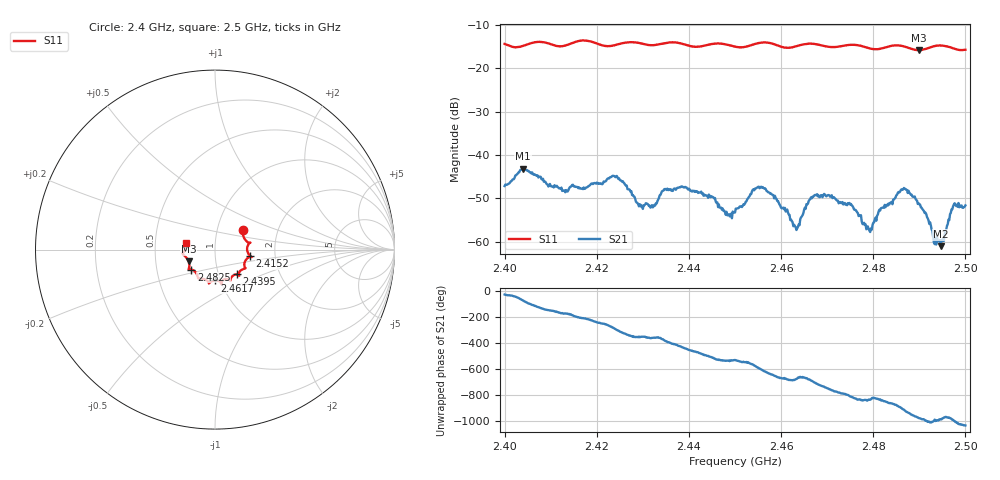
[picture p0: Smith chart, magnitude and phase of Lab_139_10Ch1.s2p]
# Hz S RI R 50
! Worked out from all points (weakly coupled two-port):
!   601 points, 2.4 GHz to 2.5 GHz, reference 50 ohm
!   highest |S21| = -43.21 dB at 2.404 GHz (marker M1); lowest = -61.1 dB at 2.4947 GHz (marker M2)
!   lowest |S11| = -15.9 dB at 2.4898 GHz (marker M3), VSWR 1.38, Z = 36.9 - j4.91 ohm
!   |S11| at or under -10 dB: start of sweep to end of sweep
!   S12 and S22 are empty: the file has one direction only
!   S11 on the Smith chart (normalised r, x): 2.4 GHz: 1.33, +0.30; 2.4152 GHz: 1.48, -0.11; 2.4395 GHz: 1.22, -0.35; 2.4617 GHz: 0.94, -0.33; 2.4825 GHz: 0.75, -0.17; 2.5 GHz: 0.72, +0.05
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2.4e9  0.1557 0.1097  0.00385 -0.00207  0 0  0 0
2.404e9  0.1739 0.0484  0.00185 -0.00665  0 0  0 0
2.415167e9  0.1958 -0.0363  -0.00421 0.00112  0 0  0 0
2.416667e9  0.204 -0.0418  -0.00354 0.00201  0 0  0 0
2.423833e9  0.1631 -0.0845  0.00202 0.00532  0 0  0 0
2.4295e9  0.1616 -0.1071  0.00264 0.00028  0 0  0 0
2.433333e9  0.1329 -0.1328  0.00305 0.000122  0 0  0 0
2.4395e9  0.1227 -0.1379  0.000168 -0.00419  0 0  0 0
2.45e9  0.0667 -0.1643  -0.00215 -0.000276  0 0  0 0
2.4555e9  0.037 -0.1929  -0.00199 0.00371  0 0  0 0
2.461667e9  0.000628 -0.1718  0.00172 0.00112  0 0  0 0
2.4635e9  -0.0225 -0.179  0.00102 0.000991  0 0  0 0
2.466667e9  -0.0337 -0.1887  0.00282 0.00141  0 0  0 0
2.475e9  -0.0915 -0.1616  -0.000175 -0.00267  0 0  0 0
2.479e9  -0.1017 -0.1367  -0.000649 -0.00124  0 0  0 0
2.4825e9  -0.1325 -0.1113  -0.00172 -0.00202  0 0  0 0
2.483333e9  -0.1398 -0.1102  -0.0022 -0.00164  0 0  0 0
2.486667e9  -0.1451 -0.1034  -0.004 0.0011  0 0  0 0
2.489833e9  -0.1476 -0.0649  -0.000498 0.00272  0 0  0 0
2.494667e9  -0.1815 -0.0217  -2.99e-05 0.000884  0 0  0 0
2.497333e9  -0.1694 -0.00621  0.000175 0.00255  0 0  0 0
2.5e9  -0.1597 0.0355  0.00192 0.00177  0 0  0 0
